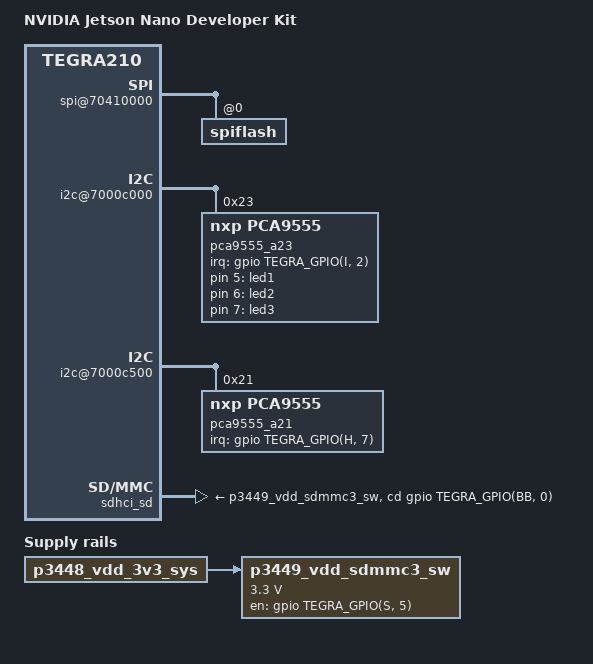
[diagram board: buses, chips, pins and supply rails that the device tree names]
/*
 * arch/arm64/boot/dts/tegra210-p3448-0000-p3449-0000-b00.dts
 *
 * Copyright (c) 2018-2021, NVIDIA CORPORATION.  All rights reserved.
 *
 * This program is free software; you can redistribute it and/or modify
 * it under the terms of the GNU General Public License as published by
 * the Free Software Foundation; version 2 of the License.
 *
 * This program is distributed in the hope that it will be useful, but WITHOUT
 * ANY WARRANTY; without even the implied warranty of MERCHANTABILITY or
 * FITNESS FOR A PARTICULAR PURPOSE.  See the GNU General Public License for
 * more details.
 *
 * You should have received a copy of the GNU General Public License along
 * with this program; if not, write to the Free Software Foundation, Inc.,
 * 51 Franklin Street, Fifth Floor, Boston, MA  02110-1301, USA.
 *
 */

#include "tegra210-porg-p3448-common.dtsi"
#include "porg-platforms/tegra210-porg-camera-rbpcv3-dual-imx477.dtsi"
#include "porg-platforms/tegra210-porg-camera-rbpcv2-dual-imx219.dtsi"
#include "porg-platforms/tegra210-tek3-nvjetson-a1-pinmux.dtsi"
#include "porg-platforms/tegra210-tek3-nvjetson-a1-gpio-default.dtsi"
#include "porg-platforms/tegra210-porg-p3448-emc-a00.dtsi"

/ {
	model = "NVIDIA Jetson Nano Developer Kit";
	compatible = "nvidia,p3449-0000-b00+p3448-0000-b00", "nvidia,jetson-nano", "nvidia,tegra210";
	nvidia,dtsfilename = __FILE__;

	regulators {
		p3449_vdd_sdmmc3_sw: regulator@11 {
			compatible = "regulator-fixed-sync";
			reg = <11>;
			regulator-name = "vdd-3v3-sd";
			regulator-min-microvolt = <3300000>;
			regulator-max-microvolt = <3300000>;
			gpio = <&gpio TEGRA_GPIO(S, 5) 0>;
			enable-active-high;
			regulator-boot-on;
			vin-supply = <&p3448_vdd_3v3_sys>;
		};
	};

	spi@70410000 {
		status = "okay";
		spiflash@0 {
			controller-data {
				nvidia,x1-len-limit = <16>;
				nvidia,x4-bus-speed = <104000000>;
				nvidia,x4-dymmy-cycle = <8>;
			};
		};
	};

	gpio@6000d000 {
		/* gpio-name for 40-pin header, gpio-name given as COL(10) x ROW(20) */
		gpio-line-names = "",   "",     "",     "",     "",     "",     "",     "",     "",     "",
		"",     "",     "SPI1_MOSI",    "SPI1_MISO",    "SPI1_SCK",     "SPI1_CS0",     "SPI0_MOSI",    "SPI0_MISO",    "SPI0_SCK",     "SPI0_CS0",
		"SPI0_CS1",     "",     "",     "",     "",     "",     "",     "",     "",     "",
		"",     "",     "",     "",     "",     "",     "",     "",     "GPIO13",      "",
		"",     "",     "",     "",     "",     "",     "",     "",     "",     "",
		"UART1_RTS",    "UART1_CTS",    "",     "",     "",     "",     "",     "",     "",     "",
		"",     "",     "",     "PCA9555_a21_irq",     "",     "",     "PCA9555_a23_irq",     "",     "",     "",
		"",     "",     "",     "",     "",     "",     "I2S0_FS",    "I2S0_DIN",    "I2S0_DOUT",   "I2S0_SCLK",
		"",     "",     "",     "",     "",     "",     "",     "",     "",     "",
		"",     "",     "",     "",     "",     "",     "",     "",     "",     "",
		"",     "",     "",     "",     "",     "",     "",     "",     "",     "",
		"",     "",     "",     "",     "",     "",     "",     "",     "",     "",
		"",     "",     "",     "",     "",     "",     "",     "",     "",     "",
		"",     "",     "",     "",     "",     "",     "",     "",     "",     "",
		"",     "",     "",     "",     "",     "",     "",     "",     "",     "",
		"",     "",     "",     "",     "",     "",     "",     "",     "",     "",
		"",     "",     "",     "",     "",     "",     "",     "",     "GPIO07",   "",
		"",     "",     "",     "",     "",     "",     "",     "",     "",     "",
		"",     "",     "",     "",     "",     "",     "",     "",     "",     "",
		"",     "",     "",     "",     "GPIO12",       "",     "",     "",     "",     "",
		"GPIO11",      "",     "",     "",     "",     "",     "",     "",     "",     "",
		"",     "",     "",     "",     "",     "",     "",     "",     "",     "",
		"",     "",     "",     "",     "",     "",     "",     "",     "",     "",
		"",     "",     "SPI1_CS1",     "",     "",     "",     "",     "",     "",     "";
	};

	host1x {
		sor1 {
			hdmi-display {
				status = "disabled";
			};
		};

		dpaux1 {
			status = "disabled";
		};
	};

	i2c@7000c000 {
		pca9555_a23: pca9555@23 {
			compatible = "nxp,pca9555";
			reg = <0x23>;

			interrupt-parent = <&gpio>;
			interrupts = <TEGRA_GPIO(I, 2) IRQ_TYPE_LEVEL_LOW>;

			interrupt-controller;
			#interrupt-cells = <2>;

			gpio-controller;
			#gpio-cells = <2>;

			status = "okay";
			gpio-line-names = "M2_DISABLE_N", "M2_RST_IN", "LTE_WAKE", "W_DISABLE1_CTRL",
						"BT_M2_EN", "GPIO_LED1", "GPIO_LED2", "GPIO_LED3",
						"BTBC_GPIO_P20", "BTBC_GPIO_P21", "BTBC_GPIO_P22", "BTBC_GPIO_P23",
						"BTBC_GPIO_P24", "BTBP_GPIO_P18", "BTBP_GPIO_P19", "BTBP_GPIO_P20";
		};
	};

	i2c@7000c500 {
		pca9555_a21: pca955@21 {
			compatible = "nxp,pca9555";
			reg = <0x21>;

			interrupt-parent = <&gpio>;
			interrupts = <TEGRA_GPIO(H, 7) IRQ_TYPE_LEVEL_LOW>;

			interrupt-controller;
			#interrupt-cells = <2>;

			gpio-controller;
			#gpio-cells = <2>;

			status = "okay";
			gpio-line-names = "CSI0_PWDN", "CSI0_PDB", "CSI0_RST_N", "INFO0_TRIG_IN",
						"CSI1_PWDN", "CSI1_PDB", "CSI1_RST_N", "INFO1_TRIG_IN",
						"CSI2_PWDN", "CSI2_PDB", "CSI2_RST_N", "INFO2_TRIG_IN",
						"CSI4_PWDN", "CSI4_PDB", "CSI4_RST_N", "INFO4_TRIG_IN";
		};
	};

	gpio-leds1 {
		compatible = "gpio-leds";
		status = "okay";
		led1 {
			gpios = <&pca9555_a23 5 GPIO_ACTIVE_HIGH>;
			default-state = "off";
		};
	};

	gpio-leds2 {
		compatible = "gpio-leds";
		status = "okay";
		led2 {
			gpios = <&pca9555_a23 6 GPIO_ACTIVE_HIGH>;
			default-state = "off";
		};
	};

	gpio-leds3 {
		compatible = "gpio-leds";
		status = "okay";
		led3 {
			gpios = <&pca9555_a23 7 GPIO_ACTIVE_HIGH>;
			default-state = "off";
		};
	};

	i2c@7000c700 { /* i2c4 */
		status = "disabled";
	};

	sdhci_sd: sdhci@700b0400 { /* sdmmc3 */
		/delete-property/ vqmmc-supply;
		/delete-property/ mmc-ddr-1_8v;
		/delete-property/ uhs-mask;
		/delete-property/ non-removable;
		keep-power-in-suspend;
		mmc-ocr-mask = <0>;
		tap-delay = <1>;
		cd-gpios = <&gpio TEGRA_GPIO(BB, 0) 0>;
		vmmc-supply = <&p3449_vdd_sdmmc3_sw>;
		status = "okay";
	};
};
